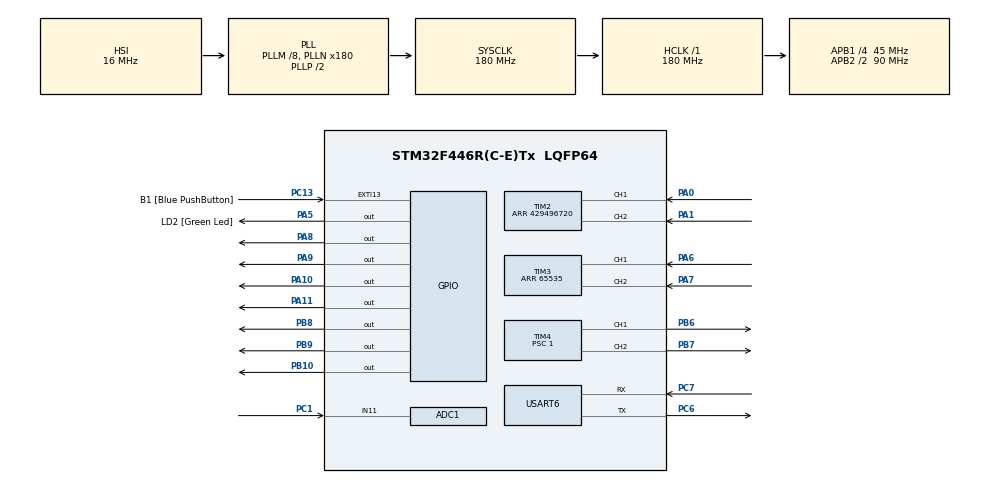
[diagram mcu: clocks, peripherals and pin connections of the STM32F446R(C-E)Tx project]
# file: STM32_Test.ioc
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ADC1.Channel-0\#ChannelRegularConversion=ADC_CHANNEL_11
ADC1.ContinuousConvMode=ENABLE
ADC1.DMAContinuousRequests=ENABLE
ADC1.InjNumberOfConversion=0
ADC1.NbrOfConversion=1
ADC1.NbrOfConversionFlag=1
ADC1.Rank-0\#ChannelRegularConversion=1
ADC1.SamplingTime-0\#ChannelRegularConversion=ADC_SAMPLETIME_144CYCLES
ADC1.ScanConvMode=ENABLE
ADC1.master=1
Dma.ADC1.1.Direction=DMA_PERIPH_TO_MEMORY
Dma.ADC1.1.FIFOMode=DMA_FIFOMODE_DISABLE
Dma.ADC1.1.Instance=DMA2_Stream0
Dma.ADC1.1.MemDataAlignment=DMA_MDATAALIGN_WORD
Dma.ADC1.1.MemInc=DMA_MINC_ENABLE
Dma.ADC1.1.Mode=DMA_CIRCULAR
Dma.ADC1.1.PeriphDataAlignment=DMA_PDATAALIGN_WORD
Dma.ADC1.1.PeriphInc=DMA_PINC_DISABLE
Dma.ADC1.1.Priority=DMA_PRIORITY_LOW
Dma.Request0=USART6_RX
Dma.Request1=ADC1
Dma.USART6_RX.0.Direction=DMA_PERIPH_TO_MEMORY
Dma.USART6_RX.0.FIFOMode=DMA_FIFOMODE_DISABLE
Dma.USART6_RX.0.Instance=DMA2_Stream1
Dma.USART6_RX.0.MemDataAlignment=DMA_MDATAALIGN_BYTE
Dma.USART6_RX.0.MemInc=DMA_MINC_ENABLE
Dma.USART6_RX.0.Mode=DMA_CIRCULAR
Dma.USART6_RX.0.PeriphDataAlignment=DMA_PDATAALIGN_BYTE
Dma.USART6_RX.0.PeriphInc=DMA_PINC_DISABLE
Dma.USART6_RX.0.Priority=DMA_PRIORITY_LOW
Mcu.Family=STM32F4
Mcu.Name=STM32F446R(C-E)Tx
Mcu.Package=LQFP64
NVIC.DMA2_Stream0_IRQn=true\:0\:0\:false\:false\:true\:false\:true
NVIC.DMA2_Stream1_IRQn=true\:0\:0\:false\:false\:true\:false\:true
NVIC.PriorityGroup=NVIC_PRIORITYGROUP_0
NVIC.TIM4_IRQn=true\:0\:0\:false\:false\:true\:true\:true
PA0-WKUP.Signal=S_TIM2_CH1_ETR
PA1.Signal=S_TIM2_CH2
PA10.Signal=GPIO_Output
PA11.Signal=GPIO_Output
PA13.GPIO_Label=TMS
PA13.Mode=Serial_Wire
PA13.Signal=SYS_JTMS-SWDIO
PA14.GPIO_Label=TCK
PA14.Mode=Serial_Wire
PA14.Signal=SYS_JTCK-SWCLK
PA5.GPIO_Label=LD2 [Green Led]
PA5.Signal=GPIO_Output
PA6.Signal=S_TIM3_CH1
PA7.Signal=S_TIM3_CH2
PA8.Signal=GPIO_Output
PA9.Signal=GPIO_Output
PB10.Signal=GPIO_Output
PB3.GPIO_Label=SWO
PB3.Signal=SYS_JTDO-SWO
PB6.Signal=S_TIM4_CH1
PB7.Signal=S_TIM4_CH2
PB8.Signal=GPIO_Output
PB9.Signal=GPIO_Output
PC1.Signal=ADCx_IN11
PC13.GPIO_Label=B1 [Blue PushButton]
PC13.GPIO_ModeDefaultEXTI=GPIO_MODE_IT_FALLING
PC13.Signal=GPXTI13
PC14-OSC32_IN.Mode=LSE-External-Oscillator
PC14-OSC32_IN.Signal=RCC_OSC32_IN
PC15-OSC32_OUT.Mode=LSE-External-Oscillator
PC15-OSC32_OUT.Signal=RCC_OSC32_OUT
PC6.Mode=Asynchronous
PC6.Signal=USART6_TX
PC7.Mode=Asynchronous
PC7.Signal=USART6_RX
PH0-OSC_IN.Mode=HSE-External-Oscillator
PH0-OSC_IN.Signal=RCC_OSC_IN
PH1-OSC_OUT.Mode=HSE-External-Oscillator
PH1-OSC_OUT.Signal=RCC_OSC_OUT
ProjectManager.HeapSize=0x200
ProjectManager.StackSize=0x400
ProjectManager.TargetToolchain=EWARM V8
RCC.48MHZClocksFreq_Value=84000000
RCC.AHBFreq_Value=180000000
RCC.APB1CLKDivider=RCC_HCLK_DIV4
RCC.APB1Freq_Value=45000000
RCC.APB1TimFreq_Value=90000000
RCC.APB2CLKDivider=RCC_HCLK_DIV2
RCC.APB2Freq_Value=90000000
RCC.APB2TimFreq_Value=180000000
RCC.CortexFreq_Value=180000000
RCC.FLatency-AdvancedSettings=FLASH_LATENCY_5
RCC.HCLKFreq_Value=180000000
RCC.HSE_VALUE=8000000
RCC.HSI_VALUE=16000000
RCC.PLLM=8
RCC.PLLN=180
RCC.SYSCLKFreq_VALUE=180000000
RCC.SYSCLKSource=RCC_SYSCLKSOURCE_PLLCLK
RCC.USBFreq_Value=180000000
RCC.VCOOutputFreq_Value=360000000
SH.ADCx_IN11.0=ADC1_IN11,IN11
SH.S_TIM2_CH1_ETR.0=TIM2_CH1,Encoder_Interface
SH.S_TIM2_CH2.0=TIM2_CH2,Encoder_Interface
SH.S_TIM3_CH1.0=TIM3_CH1,Encoder_Interface
SH.S_TIM3_CH2.0=TIM3_CH2,Encoder_Interface
SH.S_TIM4_CH1.0=TIM4_CH1,PWM Generation1 CH1
SH.S_TIM4_CH2.0=TIM4_CH2,PWM Generation2 CH2
TIM2.CounterMode=TIM_COUNTERMODE_UP
TIM2.Period=429496720
TIM3.EncoderMode=TIM_ENCODERMODE_TI12
TIM3.Period=65535
TIM4.Channel-PWM\ Generation1\ CH1=TIM_CHANNEL_1
TIM4.Channel-PWM\ Generation2\ CH2=TIM_CHANNEL_2
TIM4.Period=2249
TIM4.Prescaler=1
USART6.VirtualMode=VM_ASYNC
VP_TIM4_VS_ClockSourceINT.Mode=Internal
board=NUCLEO-F446RE

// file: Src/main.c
/* USER CODE BEGIN Header */
/**
  ******************************************************************************
  * @file           : main.c
  * @brief          : Main program body
  ******************************************************************************
  * @attention
  *
  * <h2><center>&copy; Copyright (c) 2021 STMicroelectronics.
  * All rights reserved.</center></h2>
  *
  * This software component is licensed by ST under BSD 3-Clause license,
  * the "License"; You may not use this file except in compliance with the
  * License. You may obtain a copy of the License at:
  *                        opensource.org/licenses/BSD-3-Clause
  *
  ******************************************************************************
  */
/* USER CODE END Header */

#include "main.h"

/* USER CODE BEGIN Includes */
#include "dataType.h"
/* USER CODE END Includes */

/* USER CODE BEGIN PD */
#define RX_BUFFER_SIZE 256
#define TX_BUFFER_SIZE 256
#define M_PI 3.141592

/* USER CODE END PD */

ADC_HandleTypeDef hadc1;
DMA_HandleTypeDef hdma_adc1;

TIM_HandleTypeDef htim2;
TIM_HandleTypeDef htim3;
TIM_HandleTypeDef htim4;

UART_HandleTypeDef huart6;
DMA_HandleTypeDef hdma_usart6_rx;

/* USER CODE BEGIN PV */

//Serial
uint8_t rx_dma_buffer[RX_BUFFER_SIZE];
uint8_t rx_buffer[RX_BUFFER_SIZE];
uint32_t rx_size = 0;

uint8_t tx_buffer[TX_BUFFER_SIZE];
uint8_t tx_len;

volatile unsigned char g_tail_pos = 255;
volatile unsigned char g_head_pos;

volatile Packet_t g_PacketBuffer;
volatile unsigned char g_PacketMode;
volatile unsigned char g_ID=1;
volatile unsigned char checkSize;
volatile unsigned char g_checksum;

volatile Packet_t g_Tx_Packet;
volatile unsigned char g_Tx_checksum;
volatile int g_SendFlag;

// Motor L
volatile int16_t Motor_CCR_Y = 0;
//position
volatile double g_Pdes_Y = 0;
volatile double g_Pcur_Y, g_Ppre_Y;
volatile double g_Perr_Y, g_Pperr_Y;
volatile double g_Pderr_Y;

volatile double Kp_p_Y = 9.85;
volatile double Kd_p_Y = 0.26;//0.12;

//speed
volatile double g_Vcur_Y, g_Vpre_Y;
volatile double g_Vdes_Y;
volatile double g_Verr_Y;
volatile double g_Vlimit_Y = 10.;
volatile double g_Verr_sum_Y;

volatile double Kp_s_Y = 0.5953;
volatile double Ki_s_Y = 83.3;     //153.3651;

volatile int g_Pdes_Y_display;
volatile int g_Vlimit_Y_display;
volatile int g_Climit_display;

volatile double g_vel_control_Y;
volatile double g_pos_control_Y;

//Motor2
volatile int16_t Motor_CCR_P = 0;
//position
volatile double g_Pdes_P = 0., g_Ppre_P;
volatile double g_Pcur_P, g_Pvcur_P;
volatile double g_Perr_P;
volatile double g_Pderr_P;

volatile double Kp_p_P = 7.5;
volatile double Kd_p_P = 0.35;

//speed
volatile double g_Vcur_P, g_Vpre_P;
volatile double g_Vdes_P = 0;
volatile double g_Verr_P;
volatile double g_Vlimit_P = 10.;
volatile double g_Verr_sum_P;

volatile double Kp_s_P = 0.49053;
volatile double Ki_s_P = 33.3;//46.660104;

//curreent
volatile double g_Ccur_P, g_Cdes_P;
double g_Cerr_P, g_Cerr_sum_P;
volatile double g_Climit_P = 0.1;
volatile double Kp_c_P = 0.2353;
volatile double Ki_c_P = 46.3;//46.660104;

volatile double g_vel_control_P;
volatile double g_pos_control_P;
volatile double g_cur_control_P;

volatile int g_Pdes_P_display;
volatile int g_Vlimit_P_display;
volatile int g_Climit_display;

//TImer4 관련
volatile uint16_t g_TimerCnt;
volatile uint16_t cnt;
volatile uint16_t timer;

//encoder
volatile uint16_t   encoder_cnt_P;
volatile int32_t   encoder_cnt_Y;
volatile int32_t   pre_encoder_cnt_Y;
volatile uint16_t   pre_encoder_cnt_P;
volatile int32_t P_cnt_error;

//ADC
volatile uint32_t g_ADC1[2];
volatile uint32_t g_PreADC1;
volatile uint32_t g_ADC1_filter;
int adc_dir;

//for J-link
int J_Vdes_Y;
int J_Vcur_Y;
int J_Pdes_Y;
int J_Pcur_Y;

int J_Vdes_P;
int J_Vcur_P;
int J_Pdes_P;
int J_Pcur_P;
int J_Cdes_P;
int J_Ccur_P;

double fake_v_des;

double fake_cnt;
int flag;

/* USER CODE END PV */

void SystemClock_Config(void);
static void MX_GPIO_Init(void);
static void MX_DMA_Init(void);
static void MX_USART6_UART_Init(void);
static void MX_TIM3_Init(void);
static void MX_TIM2_Init(void);
static void MX_TIM4_Init(void);
static void MX_ADC1_Init(void);

/* USER CODE BEGIN 0 */
void Uart_rx_dma_handler() {
  uint8_t cnt;
  uint8_t i;

  rx_size = 0;
  g_head_pos = huart6.RxXferSize - huart6.hdmarx->Instance->NDTR -1;
  while(g_tail_pos != g_head_pos) {
//    sprintf(tx_buffer,"%c\n",rx_dma_buffer[g_tail_pos]);
//    HAL_UART_Transmit(&huart6,tx_buffer,sizeof(tx_buffer), 10);
//
    switch (g_PacketMode) {    			//mode0 : 패킷의 들어오는지 확인
      case 0:
            if (rx_dma_buffer[g_tail_pos] == 0xFE) {			//Header check
                    checkSize++;
                    if (checkSize == 4) { // header 4개가 다 들어왔으면 1번 모드로 변경
                        g_PacketMode = 1;
                    }
            }
            else {
                    checkSize = 0;	//초기화
            }
      break;

      case 1:

        g_PacketBuffer.buffer[checkSize++] = rx_dma_buffer[g_tail_pos]; //checkSize 8될때 까지 g_PacketBuffer.buffer에 받아온 값 담기(size,mode,g_checksum)
        if (checkSize == 8){
               g_PacketMode = 2;
        }
      break;

     case 2:
       g_PacketBuffer.buffer[checkSize++] = rx_dma_buffer[g_tail_pos];
       g_checksum += rx_dma_buffer[g_tail_pos];

       if (checkSize == g_PacketBuffer.data.size){					//data size만큼 버퍼읽음
               if (g_checksum == g_PacketBuffer.data.check){					// checksum check

                    switch(g_PacketBuffer.data.mode){				// 모든게 올바르면, Get target position, Velocity limit Current Limit
                                 case 2:
                                   g_Pdes_Y_display = g_PacketBuffer.data.pos_Y ;
                                   g_Vlimit_Y_display = g_PacketBuffer.data.velo_Y ;

                                 g_Pdes_Y = g_PacketBuffer.data.pos_Y / 1000.;
                                 g_Vlimit_Y = g_PacketBuffer.data.velo_Y / 1000.;
                                 g_Pdes_P = g_PacketBuffer.data.pos_P / 1000.;
                                 g_Vlimit_P = g_PacketBuffer.data.velo_P / 1000.;
                                 break;
                         }

               }
               //초기화
               g_checksum = 0;
               g_PacketMode = 0;
               checkSize = 0;

       }
       else if(checkSize > g_PacketBuffer.data.size || checkSize > sizeof(Packet_t)){		//오류시 초기화
               g_checksum = 0;
               g_PacketMode = 0;
               checkSize = 0;
       }
    }

     if(g_SendFlag >500) {
            g_SendFlag = 0;
            g_Tx_Packet.data.id	= g_ID;							//motor id 다만 이번과제에선 사용하지 않음
            g_Tx_Packet.data.size = sizeof(Packet_data_t);
            g_Tx_Packet.data.mode = 3;						//mode 3
            g_Tx_Packet.data.check = 0;

            g_Tx_Packet.data.pos_Y = g_Pcur_Y*180./M_PI*1000;
            g_Tx_Packet.data.velo_Y = g_Vcur_Y* 1000;
            g_Tx_Packet.data.pos_P= g_Pcur_P*180./M_PI * 1000;
            g_Tx_Packet.data.velo_P= g_Vcur_P * 1000;

            for(int i = 8; i< sizeof(Packet_t);i++)		// checksum 제작
            g_Tx_Packet.data.check += g_Tx_Packet.buffer[i];

            for(int i =0; i<g_Tx_Packet.data.size;i++){		//송신
              tx_buffer[i] = g_Tx_Packet.buffer[i];
            }
            HAL_UART_Transmit(&huart6, tx_buffer, g_Tx_Packet.data.size,10);
    }

    g_tail_pos++;
  }

 //     HAL_UART_Transmit(&huart6,"a",2, 10);

}

void HAL_TIM_PeriodElapsedCallback(TIM_HandleTypeDef *htim) {
  if(htim == &htim4) {                                                          //20Khz
   //     HAL_GPIO_TogglePin(GPIOA,GPIO_PIN_8);             //motor1 REF

    if((g_TimerCnt % 100) == 0){		// position control     200Hz(5ms)

                      g_TimerCnt = 0;

                      //Yaw관련 제어기
                //      if(g_Pdes_Y < 0) g_Pdes_Y + 2*M_PI;	// 음수 target시 0~360으로 표현
                      // 효율적인 도는 방향 정하기

                      if(g_Pdes_Y > 90) g_Pdes_Y = 90;
                      else if(g_Pdes_Y<-90) g_Pdes_Y = -90;

                      g_Perr_Y = ((double)g_Pdes_Y*M_PI/180.) - g_Pcur_Y;		//position error
                      if(g_Perr_Y > 360) {
                              g_Perr_Y = g_Pperr_Y;
                      }
                      else if(g_Perr_Y < -360) {
                              g_Perr_Y = g_Pperr_Y;
                      }
                      g_Pderr_Y = g_Perr_Y - g_Pperr_Y;		//position error_dot

                      // 효율적인 도는 방향 정하기
                      if(g_Perr_Y > M_PI) {
                              g_Perr_Y -= 2*M_PI;
                      }
                      else if(g_Perr_Y < -M_PI) {
                              g_Perr_Y += 2*M_PI;
                      }

                      g_pos_control_Y = (double) g_Perr_Y * Kp_p_Y +  g_Pderr_Y* Kd_p_Y;		//pd controller

                      //gear가 적용된 motor의 최대 속도는 161rpm (16.8599 rad/sec)
                      // turret의 초대 속도는 4.25rpm
                      if(g_pos_control_Y > 4.0150){
                              g_pos_control_Y = 4.2150;
                      }
                      else if(g_pos_control_Y < -4.0150){
                              g_pos_control_Y = -4.2150;
                      }

                      //pitch관련 제어기
                      if(g_Pdes_P >30 || g_Pcur_P > 30) g_Pdes_P = 30;                   //joint limit
                      if(g_Pdes_P<-90 || g_Pcur_P < -90) g_Pdes_P = -90;                  //joint limit
                      g_Perr_P = ((double)g_Pdes_P*M_PI/180.) - (g_Pcur_P);		//position error
                      g_Pderr_P = g_Perr_P - g_Ppre_P;		//position error_dot

                      // 효율적인 도는 방향 정하기
                      if(g_Perr_P > M_PI) {
                              g_Perr_P -= 2*M_PI;
                      }
                      else if(g_Perr_P < -M_PI) {
                              g_Perr_P += 2*M_PI;
                      }

                      g_pos_control_P = (double) g_Perr_P * Kp_p_P +  g_Pderr_P* Kd_p_P;		//pd controller

                      //gear가 적용된 motor의 최대 속도는 161rpm (16.8599 rad/sec)
                      if(g_pos_control_P > 2.5){
                              g_pos_control_P = 2.5;
                      }
                      else if(g_pos_control_P < -2.5){
                              g_pos_control_P = -2.5;
                      }

                      g_Pperr_Y = g_Perr_Y;
                      g_Ppre_P = g_Perr_P;

              }
    if((g_TimerCnt%20) == 0) {                          // speed control     1000Hz 1ms   0.001초
             //speed limit -Vlimit ~ +Vlimit
                if(g_pos_control_P > g_Vlimit_P){
                        g_pos_control_P = g_Vlimit_P;
                }
                else if(g_pos_control_P < -g_Vlimit_P){
                        g_pos_control_P = -g_Vlimit_P;
                }

                 encoder_cnt_P = TIM3->CNT;
                P_cnt_error = encoder_cnt_P - pre_encoder_cnt_P;
                if(encoder_cnt_P>65000 && pre_encoder_cnt_P < 500){
                      P_cnt_error -= 65535 ;
                }
                else if(encoder_cnt_P< 100 && pre_encoder_cnt_P > 65500){
                      P_cnt_error += 65535 ;
                }
                g_Pcur_P += (P_cnt_error / (4000. * 49.) ) * 2 * M_PI;   //  encoder counter -> radian

                pre_encoder_cnt_P = encoder_cnt_P;

                g_Vdes_P = g_pos_control_P; // rad/sec
               // g_Vdes_P = fake_v_des; // rad/sec

               g_Vcur_P = (g_Pcur_P - g_Pvcur_P) / 0.001;	// (현재 엔코더값 - 예전 엔코더값)/0.0005초 -> 현재속도 [rad/sec]
              //  g_Vcur_P = (P_cnt_error)*2*M_PI / 12.;
                g_Pvcur_P = g_Pcur_P;						// 에전 엔코더값 저장

                g_Verr_P = g_Vdes_P - g_Vcur_P;  //speed error

                g_vel_control_P = g_Verr_P * Kp_s_P + g_Verr_sum_P * Ki_s_P * 0.001;		// PI제어기

                g_Verr_sum_P += g_Verr_P;	// spped error sum

                J_Vdes_P = g_Vdes_P*100;
                J_Vcur_P = g_Vcur_P*100;
                J_Pdes_P = g_Pdes_P;
                J_Pcur_P = g_Pcur_P*180/M_PI;

                //최대 허용 전류 saturation & anti-windup
                if(g_vel_control_P > 1.8){
                        g_Verr_sum_P -= (g_vel_control_P - 1.8) * 1. / (Kp_s_P*3);	//  anti windup gain은 1/Kps
                        g_vel_control_P = 1.8;
                }
                else if(g_vel_control_P < -1.8){
                        g_Verr_sum_P -= (g_vel_control_P + 1.8) * 1. / (Kp_s_P*3); //  anti windup gain은 1/Kps
                        g_vel_control_P = -1.8;
                }

                Motor_CCR_P = g_vel_control_P * (2250. / 2.0) - 1;
                  if(Motor_CCR_P>=0) {
                    HAL_GPIO_WritePin(GPIOB,GPIO_PIN_8,GPIO_PIN_RESET);             //motor1 DIR
                  TIM4->CCR2 =  Motor_CCR_P;
                  }
                  else{
                    HAL_GPIO_WritePin(GPIOB,GPIO_PIN_8,GPIO_PIN_SET);             //motor1 DIR
                    TIM4->CCR2 = -Motor_CCR_P;
                  }
    }

      if((g_TimerCnt % 10) == 0){			// speed control     2000Hz 0.5ms   0.0005초
                //speed limit -Vlimit ~ +Vlimit
                if(g_pos_control_Y > g_Vlimit_Y){
                        g_pos_control_Y = g_Vlimit_Y;
                }
                else if(g_pos_control_Y < -g_Vlimit_Y){
                        g_pos_control_Y = -g_Vlimit_Y;
                }

                encoder_cnt_Y = TIM2->CNT-214748360;

                g_Pcur_Y = ((encoder_cnt_Y ) / (4096. * 26. * 4.)) * 2 * M_PI;   //  encoder counter -> radian

                g_Vdes_Y = g_pos_control_Y; // rad/sec
                //g_Vdes_Y = fake_v_des; // rad/sec

                g_Vcur_Y = (g_Pcur_Y - g_Ppre_Y) / 0.0005;	// (현재 엔코더값 - 예전 엔코더값)/0.0005초 -> 현재속도 [rad/sec]
                g_Ppre_Y = g_Pcur_Y;						// 에전 엔코더값 저장

                g_Verr_Y = g_Vdes_Y - g_Vcur_Y;  //speed error

                g_vel_control_Y = g_Verr_Y * Kp_s_Y + g_Verr_sum_Y * Ki_s_Y * 0.0005;		// PI제어기

                g_Verr_sum_Y += g_Verr_Y;	// spped error sum

                J_Vdes_Y = g_Vdes_Y*100;
                J_Vcur_Y = g_Vcur_Y*100;
               J_Pdes_Y = g_Pdes_Y;
                J_Pcur_Y = g_Pcur_Y*180/M_PI;

                //최대 허용 전류 saturation & anti-windup
                if(g_vel_control_Y > 1.6){
                        g_Verr_sum_Y -= (g_vel_control_Y - 1.6) * 1. / (3*Kp_s_Y);	//  anti windup gain은 1/Kps
                        g_vel_control_Y = 1.6;
                }
                else if(g_vel_control_Y < -1.6){
                        g_Verr_sum_Y -= (g_vel_control_Y + 1.6) * 1. / (3*Kp_s_Y); //  anti windup gain은 1/Kps
                        g_vel_control_Y = -1.6;
                }

               Motor_CCR_Y = g_vel_control_Y * (2250. / 1.6);
                if(Motor_CCR_Y>=0) {
                  HAL_GPIO_WritePin(GPIOA,GPIO_PIN_9,GPIO_PIN_SET);             //motor1 DIR
                  TIM4->CCR1 = Motor_CCR_Y;
                }
                else{
                  HAL_GPIO_WritePin(GPIOA,GPIO_PIN_9,GPIO_PIN_RESET);             //motor1 DIR
                  TIM4->CCR1 = -Motor_CCR_Y;
                }

              }

           // Curret control

            HAL_ADC_Start_DMA(&hadc1,(uint32_t *)g_ADC1,1);

             g_ADC1_filter = (0.04)*g_ADC1[0] + (0.96)*g_PreADC1;

             g_PreADC1 = g_ADC1_filter;

            g_Ccur_P = ((g_ADC1_filter* 3.3 / 4096.  ) -  2.5548) * 10. ;
            /*

            J_Ccur_P = g_Ccur_P*100;
            J_Cdes_P = g_Cdes_P*100;

           // g_Cdes_P = -g_vel_control_P;
             g_Cdes_P = -0.1;

            if(g_Cerr_P > g_Climit_P)
                  g_Cerr_P = g_Climit_P;
            else if(g_Cerr_P < -g_Climit_P)
                g_Cerr_P = -g_Climit_P;

            g_Cerr_P = g_Cdes_P - g_Ccur_P;

            g_cur_control_P = g_Cerr_P * Kp_c_P + g_Cerr_sum_P * Ki_c_P*0.00005;
     //       g_cur_control_P += g_Vcur_P *
            g_Cerr_sum_P += g_Cerr_P;

          if(g_cur_control_P >= 24){									//최대 출력 24V
            g_Cerr_sum_P -= (g_cur_control_P - 24.) * 1. /  (Kp_c_P*3.);		// anti windup 계수 1/3kp
            g_cur_control_P = 24;
          }
          else if(g_cur_control_P <= -24){
                  g_Cerr_sum_P -= (g_cur_control_P + 24.) * 1. / (Kp_c_P*3.);		// anti windup 계수 1/3kp
                  g_cur_control_P = -24;
          }
            */

          // Motor_CCR_P = g_cur_control_P * (2250. / 24.) - 1;

          g_SendFlag++;
          g_TimerCnt++;
   //       HAL_GPIO_WritePin(GPIOA,GPIO_PIN_8,GPIO_PIN_RESET);             //motor1 REF

   }
}

/* USER CODE END 0 */

int main(void)
{
  /* USER CODE BEGIN 1 */
        flag = 1;
        Motor_CCR_P = 0;

  /* USER CODE END 1 */

  /* MCU Configuration--------------------------------------------------------*/

  /* Reset of all peripherals, Initializes the Flash interface and the Systick. */
  HAL_Init();

  /* USER CODE BEGIN Init */
  g_Tx_Packet.data.header[0] = g_Tx_Packet.data.header[1] = g_Tx_Packet.data.header[2] = g_Tx_Packet.data.header[3] = 0xfe;

  /* USER CODE END Init */

  /* Configure the system clock */
  SystemClock_Config();

  /* Initialize all configured peripherals */
  MX_GPIO_Init();
  MX_DMA_Init();
  MX_USART6_UART_Init();
  MX_TIM3_Init();
  MX_TIM2_Init();
  MX_TIM4_Init();
  MX_ADC1_Init();
  /* USER CODE BEGIN 2 */
  HAL_TIM_Encoder_Start(&htim2,TIM_CHANNEL_ALL);
    TIM2->CNT = 214748360;

  HAL_UART_Receive_DMA(&huart6, rx_dma_buffer, RX_BUFFER_SIZE);
  HAL_TIM_Base_Start_IT(&htim4);
  HAL_TIM_PWM_Start(&htim4, TIM_CHANNEL_1);
  HAL_TIMEx_PWMN_Start(&htim4, TIM_CHANNEL_1);                          //motor1 pwm
  HAL_TIM_PWM_Start(&htim4, TIM_CHANNEL_2);
  HAL_TIMEx_PWMN_Start(&htim4, TIM_CHANNEL_2);
  HAL_TIM_Encoder_Start(&htim3,TIM_CHANNEL_ALL);

  HAL_GPIO_WritePin(GPIOA,GPIO_PIN_8,GPIO_PIN_RESET);             //motor1 REF
  HAL_GPIO_WritePin(GPIOA,GPIO_PIN_9,GPIO_PIN_SET);             //motor1 DIR            set일때 CW

  HAL_GPIO_WritePin(GPIOA,GPIO_PIN_10,GPIO_PIN_SET);           // motor2  reset
  HAL_GPIO_WritePin(GPIOA,GPIO_PIN_11,GPIO_PIN_SET);            //

  HAL_GPIO_WritePin(GPIOB,GPIO_PIN_8,GPIO_PIN_RESET);             //motor2 DIR
  HAL_GPIO_WritePin(GPIOB,GPIO_PIN_9,GPIO_PIN_RESET);             //motor2 MODE

  HAL_GPIO_WritePin(GPIOB,GPIO_PIN_10,GPIO_PIN_RESET);           // motor2 COAST
//  g_Pcur_Y = 0;

  /* USER CODE END 2 */

  /* Infinite loop */
  /* USER CODE BEGIN WHILE */
  while (1)
  {
        //fake_cnt = -360%360;
    Uart_rx_dma_handler();
                         //  fake_cnt=   ((2147083640-2147483647)/(4096. * 26. * 4.)) * 2 * M_PI;
/*
    if (fake_cnt < 0 ){
       HAL_GPIO_WritePin(GPIOA,GPIO_PIN_9,GPIO_PIN_RESET);             //motor1 DIR
    }
    else{
       HAL_GPIO_WritePin(GPIOA,GPIO_PIN_9,GPIO_PIN_SET);             //motor1 DIR
    }
    TIM4->CCR1 = Motor_CCR_Y;
       TIM4->CCR2 = Motor_CCR_P;*/

  //  HAL_Delay(10);`

    /* USER CODE END WHILE */

  }
}

void SystemClock_Config(void)
{
  RCC_OscInitTypeDef RCC_OscInitStruct = {0};
  RCC_ClkInitTypeDef RCC_ClkInitStruct = {0};

  /** Configure the main internal regulator output voltage
  */
  __HAL_RCC_PWR_CLK_ENABLE();
  __HAL_PWR_VOLTAGESCALING_CONFIG(PWR_REGULATOR_VOLTAGE_SCALE1);
  /** Initializes the CPU, AHB and APB busses clocks
  */
  RCC_OscInitStruct.OscillatorType = RCC_OSCILLATORTYPE_HSI;
  RCC_OscInitStruct.HSIState = RCC_HSI_ON;
  RCC_OscInitStruct.HSICalibrationValue = RCC_HSICALIBRATION_DEFAULT;
  RCC_OscInitStruct.PLL.PLLState = RCC_PLL_ON;
  RCC_OscInitStruct.PLL.PLLSource = RCC_PLLSOURCE_HSI;
  RCC_OscInitStruct.PLL.PLLM = 8;
  RCC_OscInitStruct.PLL.PLLN = 180;
  RCC_OscInitStruct.PLL.PLLP = RCC_PLLP_DIV2;
  RCC_OscInitStruct.PLL.PLLQ = 2;
  RCC_OscInitStruct.PLL.PLLR = 2;
  if (HAL_RCC_OscConfig(&RCC_OscInitStruct) != HAL_OK)
  {
    Error_Handler();
  }
  /** Activate the Over-Drive mode
  */
  if (HAL_PWREx_EnableOverDrive() != HAL_OK)
  {
    Error_Handler();
  }
  /** Initializes the CPU, AHB and APB busses clocks
  */
  RCC_ClkInitStruct.ClockType = RCC_CLOCKTYPE_HCLK|RCC_CLOCKTYPE_SYSCLK
                              |RCC_CLOCKTYPE_PCLK1|RCC_CLOCKTYPE_PCLK2;
  RCC_ClkInitStruct.SYSCLKSource = RCC_SYSCLKSOURCE_PLLCLK;
  RCC_ClkInitStruct.AHBCLKDivider = RCC_SYSCLK_DIV1;
  RCC_ClkInitStruct.APB1CLKDivider = RCC_HCLK_DIV4;
  RCC_ClkInitStruct.APB2CLKDivider = RCC_HCLK_DIV2;

  if (HAL_RCC_ClockConfig(&RCC_ClkInitStruct, FLASH_LATENCY_5) != HAL_OK)
  {
    Error_Handler();
  }
}

static void MX_ADC1_Init(void)
{

  ADC_ChannelConfTypeDef sConfig = {0};

  /** Configure the global features of the ADC (Clock, Resolution, Data Alignment and number of conversion)
  */
  hadc1.Instance = ADC1;
  hadc1.Init.ClockPrescaler = ADC_CLOCK_SYNC_PCLK_DIV4;
  hadc1.Init.Resolution = ADC_RESOLUTION_12B;
  hadc1.Init.ScanConvMode = ENABLE;
  hadc1.Init.ContinuousConvMode = ENABLE;
  hadc1.Init.DiscontinuousConvMode = DISABLE;
  hadc1.Init.ExternalTrigConvEdge = ADC_EXTERNALTRIGCONVEDGE_NONE;
  hadc1.Init.ExternalTrigConv = ADC_SOFTWARE_START;
  hadc1.Init.DataAlign = ADC_DATAALIGN_RIGHT;
  hadc1.Init.NbrOfConversion = 1;
  hadc1.Init.DMAContinuousRequests = ENABLE;
  hadc1.Init.EOCSelection = ADC_EOC_SINGLE_CONV;
  if (HAL_ADC_Init(&hadc1) != HAL_OK)
  {
    Error_Handler();
  }
  /** Configure for the selected ADC regular channel its corresponding rank in the sequencer and its sample time.
  */
  sConfig.Channel = ADC_CHANNEL_11;
  sConfig.Rank = 1;
  sConfig.SamplingTime = ADC_SAMPLETIME_144CYCLES;
  if (HAL_ADC_ConfigChannel(&hadc1, &sConfig) != HAL_OK)
  {
    Error_Handler();
  }

}

static void MX_TIM2_Init(void)
{

  TIM_Encoder_InitTypeDef sConfig = {0};
  TIM_MasterConfigTypeDef sMasterConfig = {0};

  htim2.Instance = TIM2;
  htim2.Init.Prescaler = 0;
  htim2.Init.CounterMode = TIM_COUNTERMODE_UP;
  htim2.Init.Period = 429496720;
  htim2.Init.ClockDivision = TIM_CLOCKDIVISION_DIV1;
  htim2.Init.AutoReloadPreload = TIM_AUTORELOAD_PRELOAD_DISABLE;
  sConfig.EncoderMode = TIM_ENCODERMODE_TI1;
  sConfig.IC1Polarity = TIM_ICPOLARITY_RISING;
  sConfig.IC1Selection = TIM_ICSELECTION_DIRECTTI;
  sConfig.IC1Prescaler = TIM_ICPSC_DIV1;
  sConfig.IC1Filter = 0;
  sConfig.IC2Polarity = TIM_ICPOLARITY_RISING;
  sConfig.IC2Selection = TIM_ICSELECTION_DIRECTTI;
  sConfig.IC2Prescaler = TIM_ICPSC_DIV1;
  sConfig.IC2Filter = 0;
  if (HAL_TIM_Encoder_Init(&htim2, &sConfig) != HAL_OK)
  {
    Error_Handler();
  }
  sMasterConfig.MasterOutputTrigger = TIM_TRGO_RESET;
  sMasterConfig.MasterSlaveMode = TIM_MASTERSLAVEMODE_DISABLE;
  if (HAL_TIMEx_MasterConfigSynchronization(&htim2, &sMasterConfig) != HAL_OK)
  {
    Error_Handler();
  }

}

static void MX_TIM3_Init(void)
{

  TIM_Encoder_InitTypeDef sConfig = {0};
  TIM_MasterConfigTypeDef sMasterConfig = {0};

  htim3.Instance = TIM3;
  htim3.Init.Prescaler = 0;
  htim3.Init.CounterMode = TIM_COUNTERMODE_UP;
  htim3.Init.Period = 65535;
  htim3.Init.ClockDivision = TIM_CLOCKDIVISION_DIV1;
  htim3.Init.AutoReloadPreload = TIM_AUTORELOAD_PRELOAD_DISABLE;
  sConfig.EncoderMode = TIM_ENCODERMODE_TI12;
  sConfig.IC1Polarity = TIM_ICPOLARITY_RISING;
  sConfig.IC1Selection = TIM_ICSELECTION_DIRECTTI;
  sConfig.IC1Prescaler = TIM_ICPSC_DIV1;
  sConfig.IC1Filter = 0;
  sConfig.IC2Polarity = TIM_ICPOLARITY_RISING;
  sConfig.IC2Selection = TIM_ICSELECTION_DIRECTTI;
  sConfig.IC2Prescaler = TIM_ICPSC_DIV1;
  sConfig.IC2Filter = 0;
  if (HAL_TIM_Encoder_Init(&htim3, &sConfig) != HAL_OK)
  {
    Error_Handler();
  }
  sMasterConfig.MasterOutputTrigger = TIM_TRGO_RESET;
  sMasterConfig.MasterSlaveMode = TIM_MASTERSLAVEMODE_DISABLE;
  if (HAL_TIMEx_MasterConfigSynchronization(&htim3, &sMasterConfig) != HAL_OK)
  {
    Error_Handler();
  }

}

static void MX_TIM4_Init(void)
{

  TIM_ClockConfigTypeDef sClockSourceConfig = {0};
  TIM_MasterConfigTypeDef sMasterConfig = {0};
  TIM_OC_InitTypeDef sConfigOC = {0};

  htim4.Instance = TIM4;
  htim4.Init.Prescaler = 1;
  htim4.Init.CounterMode = TIM_COUNTERMODE_UP;
  htim4.Init.Period = 2249;
  htim4.Init.ClockDivision = TIM_CLOCKDIVISION_DIV1;
  htim4.Init.AutoReloadPreload = TIM_AUTORELOAD_PRELOAD_DISABLE;
  if (HAL_TIM_Base_Init(&htim4) != HAL_OK)
  {
    Error_Handler();
  }
  sClockSourceConfig.ClockSource = TIM_CLOCKSOURCE_INTERNAL;
  if (HAL_TIM_ConfigClockSource(&htim4, &sClockSourceConfig) != HAL_OK)
  {
    Error_Handler();
  }
  if (HAL_TIM_PWM_Init(&htim4) != HAL_OK)
  {
    Error_Handler();
  }
  sMasterConfig.MasterOutputTrigger = TIM_TRGO_RESET;
  sMasterConfig.MasterSlaveMode = TIM_MASTERSLAVEMODE_DISABLE;
  if (HAL_TIMEx_MasterConfigSynchronization(&htim4, &sMasterConfig) != HAL_OK)
  {
    Error_Handler();
  }
  sConfigOC.OCMode = TIM_OCMODE_PWM1;
  sConfigOC.Pulse = 0;
  sConfigOC.OCPolarity = TIM_OCPOLARITY_HIGH;
  sConfigOC.OCFastMode = TIM_OCFAST_DISABLE;
  if (HAL_TIM_PWM_ConfigChannel(&htim4, &sConfigOC, TIM_CHANNEL_1) != HAL_OK)
  {
    Error_Handler();
  }
  if (HAL_TIM_PWM_ConfigChannel(&htim4, &sConfigOC, TIM_CHANNEL_2) != HAL_OK)
  {
    Error_Handler();
  }
  HAL_TIM_MspPostInit(&htim4);

}

static void MX_USART6_UART_Init(void)
{

  huart6.Instance = USART6;
  huart6.Init.BaudRate = 115200;
  huart6.Init.WordLength = UART_WORDLENGTH_8B;
  huart6.Init.StopBits = UART_STOPBITS_1;
  huart6.Init.Parity = UART_PARITY_NONE;
  huart6.Init.Mode = UART_MODE_TX_RX;
  huart6.Init.HwFlowCtl = UART_HWCONTROL_NONE;
  huart6.Init.OverSampling = UART_OVERSAMPLING_16;
  if (HAL_UART_Init(&huart6) != HAL_OK)
  {
    Error_Handler();
  }

}

static void MX_DMA_Init(void)
{
  /* DMA controller clock enable */
  __HAL_RCC_DMA2_CLK_ENABLE();

  /* DMA interrupt init */
  /* DMA2_Stream0_IRQn interrupt configuration */
  HAL_NVIC_SetPriority(DMA2_Stream0_IRQn, 0, 0);
  HAL_NVIC_EnableIRQ(DMA2_Stream0_IRQn);
  /* DMA2_Stream1_IRQn interrupt configuration */
  HAL_NVIC_SetPriority(DMA2_Stream1_IRQn, 0, 0);
  HAL_NVIC_EnableIRQ(DMA2_Stream1_IRQn);

}

static void MX_GPIO_Init(void)
{
  GPIO_InitTypeDef GPIO_InitStruct = {0};

  /* GPIO Ports Clock Enable */
  __HAL_RCC_GPIOC_CLK_ENABLE();
  __HAL_RCC_GPIOH_CLK_ENABLE();
  __HAL_RCC_GPIOA_CLK_ENABLE();
  __HAL_RCC_GPIOB_CLK_ENABLE();

  /*Configure GPIO pin Output Level */
  HAL_GPIO_WritePin(GPIOA, LD2_Pin|GPIO_PIN_8|GPIO_PIN_9|GPIO_PIN_10
                          |GPIO_PIN_11, GPIO_PIN_RESET);

  /*Configure GPIO pin Output Level */
  HAL_GPIO_WritePin(GPIOB, GPIO_PIN_10|GPIO_PIN_8|GPIO_PIN_9, GPIO_PIN_RESET);

  /*Configure GPIO pin : B1_Pin */
  GPIO_InitStruct.Pin = B1_Pin;
  GPIO_InitStruct.Mode = GPIO_MODE_IT_FALLING;
  GPIO_InitStruct.Pull = GPIO_NOPULL;
  HAL_GPIO_Init(B1_GPIO_Port, &GPIO_InitStruct);

  /*Configure GPIO pins : LD2_Pin PA8 PA9 PA10
                           PA11 */
  GPIO_InitStruct.Pin = LD2_Pin|GPIO_PIN_8|GPIO_PIN_9|GPIO_PIN_10
                          |GPIO_PIN_11;
  GPIO_InitStruct.Mode = GPIO_MODE_OUTPUT_PP;
  GPIO_InitStruct.Pull = GPIO_NOPULL;
  GPIO_InitStruct.Speed = GPIO_SPEED_FREQ_LOW;
  HAL_GPIO_Init(GPIOA, &GPIO_InitStruct);

  /*Configure GPIO pins : PB10 PB8 PB9 */
  GPIO_InitStruct.Pin = GPIO_PIN_10|GPIO_PIN_8|GPIO_PIN_9;
  GPIO_InitStruct.Mode = GPIO_MODE_OUTPUT_PP;
  GPIO_InitStruct.Pull = GPIO_NOPULL;
  GPIO_InitStruct.Speed = GPIO_SPEED_FREQ_LOW;
  HAL_GPIO_Init(GPIOB, &GPIO_InitStruct);

}

void Error_Handler(void)
{
}

/************************ (C) COPYRIGHT STMicroelectronics *****END OF FILE****/
